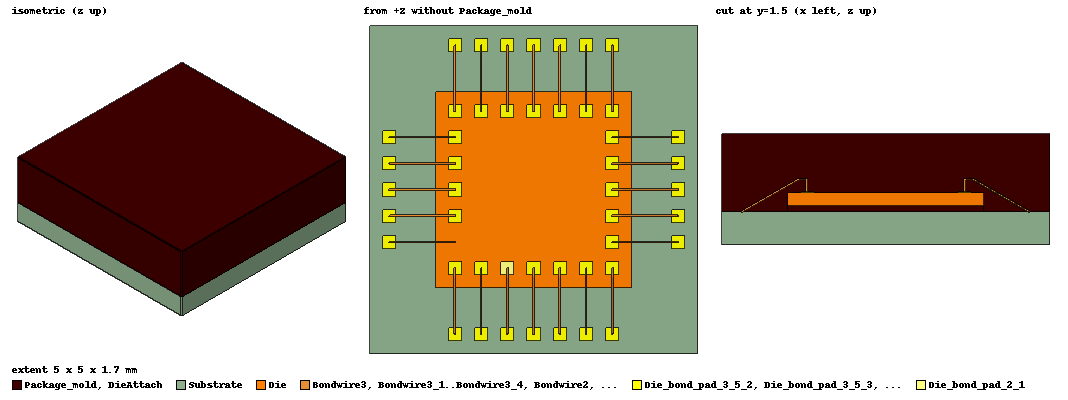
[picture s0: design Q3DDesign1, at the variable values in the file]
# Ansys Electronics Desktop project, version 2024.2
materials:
  vacuum: permittivity=1
  copper: permeability=0.999991 conductivity=58000000
  silicon: permittivity=11.9
  FR4_epoxy: permittivity=4.4 dielectric_loss_tangent=0.02
  epoxy_Kevlar_xy: permittivity=3.6
  gold: permeability=0.99996 conductivity=41000000

design Q3DDesign1 (Q3D Extractor, model units mm)
options: SParamCalcMethod=EqTransLine Calculate_Lossy_Dielectrics
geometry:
  Die [silicon] = rectangle(corner=(0mm, 0mm, 0mm), x_size=3mm, y_size=3mm)
  Die.thicken(0.2mm)
  Substrate [FR4_epoxy] = rectangle(corner=(-1mm, -1mm, -0.1mm), x_size=5mm, y_size=5mm)
  Substrate.thicken(-0.5mm)
  DieAttach [epoxy_Kevlar_xy] = rectangle(corner=(0mm, 0mm, -0.1mm), x_size=3mm, y_size=3mm)
  DieAttach.thicken(0.1mm)
  Die_bond_pad_1 [copper] = rectangle(corner=(0.2mm, 0.2mm, 0.2mm), x_size=0.2mm, y_size=0.2mm)
  Die_bond_pad_1.thicken(0.005mm)
  Substrate_bond_pad_1 [copper] = rectangle(corner=(0.2mm, -0.8mm, -0.1mm), x_size=0.2mm, y_size=0.2mm)
  Substrate_bond_pad_1.thicken(0.005mm)
  Bondwire1 [gold] = bondwire(WireType=JEDEC_4Points WireDiameter=0.025mm NumSides=6 XPadPos=0.3mm YPadPos=0.3mm ZPadPos=0.205mm XDir=0mm YDir=-1mm ZDir=0mm Distance=1mm h1=0.2mm h2=0.3mm alpha=80deg beta=5deg WhichAxis=Z)
  Die_bond_pad_2 [copper] = rectangle(corner=(0.6mm, 0.2mm, 0.2mm), x_size=0.2mm, y_size=0.2mm)
  Die_bond_pad_2.thicken(0.005mm)
  Substrate_bond_pad_2 [copper] = rectangle(corner=(0.6mm, -0.8mm, -0.1mm), x_size=0.2mm, y_size=0.2mm)
  Substrate_bond_pad_2.thicken(0.005mm)
  Bondwire2 [gold] = bondwire(WireType=JEDEC_4Points WireDiameter=0.025mm NumSides=6 XPadPos=0.7mm YPadPos=0.3mm ZPadPos=0.205mm XDir=0mm YDir=-1mm ZDir=0mm Distance=1mm h1=0.2mm h2=0.3mm alpha=80deg beta=5deg WhichAxis=Z)
  Die_bond_pad_2_1..Die_bond_pad_2_5 [copper] = Die_bond_pad_2.duplicate_along_line(step=(0.4mm, 0mm, 0mm), total=6)
  Substrate_bond_pad_2_1..Substrate_bond_pad_2_5 [copper] = Substrate_bond_pad_2.duplicate_along_line(step=(0.4mm, 0mm, 0mm), total=6)
  Bondwire2_1..Bondwire2_5 [gold] = Bondwire2.duplicate_along_line(step=(0.4mm, 0mm, 0mm), total=6)
  Die_bond_pad_3 [copper, non-model] = rectangle(corner=(0.2mm, 0.6mm, 0.2mm), x_size=0.2mm, y_size=0.2mm)
  Die_bond_pad_3.thicken(0.005mm)
  Substrate_bond_pad_3 [copper] = rectangle(corner=(-0.8mm, 0.6mm, -0.1mm), x_size=0.2mm, y_size=0.2mm)
  Substrate_bond_pad_3.thicken(0.005mm)
  Bondwire3 [gold] = bondwire(WireType=JEDEC_4Points WireDiameter=0.025mm NumSides=6 XPadPos=0.3mm YPadPos=0.7mm ZPadPos=0.205mm XDir=-1mm YDir=0mm ZDir=0mm Distance=1mm h1=0.2mm h2=0.305mm alpha=80deg beta=5deg WhichAxis=Z)
  Die_bond_pad_3_1..Die_bond_pad_3_5 [copper] = Die_bond_pad_3.duplicate_along_line(step=(0mm, 0.4mm, 0mm), total=6)
  Die_bond_pad_3_5_1..Die_bond_pad_3_5_6 [copper] = Die_bond_pad_3_5.duplicate_along_line(step=(0.4mm, 0mm, 0mm), total=7)
  Die_bond_pad_3_5_6_1..Die_bond_pad_3_5_6_5 [copper] = Die_bond_pad_3_5_6.duplicate_along_line(step=(0mm, -0.4mm, 0mm), total=6)
  Substrate_bond_pad_3_1..Substrate_bond_pad_3_4 [copper] = Substrate_bond_pad_3.duplicate_along_line(step=(0mm, 0.4mm, 0mm), total=6)  # copies kept: 1..4
  Bondwire3_1..Bondwire3_4 [gold] = Bondwire3.duplicate_along_line(step=(0mm, 0.4mm, 0mm), total=6)  # copies kept: 1..4
  Substrate_bondpad_4 [copper] = rectangle(corner=(3.6mm, 0.6mm, -0.1mm), x_size=0.2mm, y_size=0.2mm)
  Substrate_bondpad_4.thicken(0.005mm)
  Substrate_bondpad_4_1..Substrate_bondpad_4_4 [copper] = Substrate_bondpad_4.duplicate_along_line(step=(0mm, 0.4mm, 0mm), total=6)  # copies kept: 1..4
  Bondwire4 [gold] = bondwire(WireType=JEDEC_4Points WireDiameter=0.025mm NumSides=6 XPadPos=2.7mm YPadPos=0.7mm ZPadPos=0.205mm XDir=1mm YDir=0mm ZDir=0mm Distance=1mm h1=0.2mm h2=0.3mm alpha=80deg beta=5deg WhichAxis=Z)
  Bondwire4_1..Bondwire4_4 [gold] = Bondwire4.duplicate_along_line(step=(0mm, 0.4mm, 0mm), total=5)
  Substrate_bond_pad_5 [copper] = rectangle(corner=(0.2mm, 3.6mm, -0.1mm), x_size=0.2mm, y_size=0.2mm)
  Substrate_bond_pad_5.thicken(0.005mm)
  Substrate_bond_pad_5_1..Substrate_bond_pad_5_6 [copper] = Substrate_bond_pad_5.duplicate_along_line(step=(0.4mm, 0mm, 0mm), total=7)
  Bondwire5 [gold] = bondwire(WireType=JEDEC_4Points WireDiameter=0.025mm NumSides=6 XPadPos=0.3mm YPadPos=2.7mm ZPadPos=0.205mm XDir=0mm YDir=1mm ZDir=0mm Distance=1mm h1=0.2mm h2=0.3mm alpha=80deg beta=5deg WhichAxis=Z)
  Bondwire5_1..Bondwire5_6 [gold] = Bondwire5.duplicate_along_line(step=(0.4mm, 0mm, 0mm), total=7)
  Package_mold [epoxy_Kevlar_xy] = rectangle(corner=(-1mm, -1mm, -0.1mm), x_size=5mm, y_size=5mm)
  Package_mold.thicken(1.2mm)
